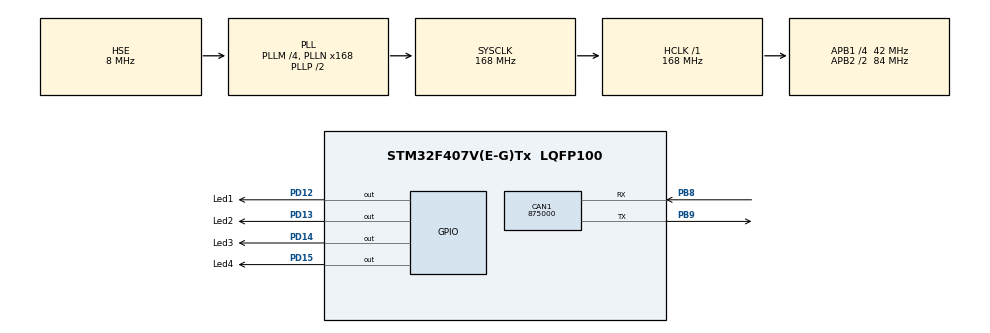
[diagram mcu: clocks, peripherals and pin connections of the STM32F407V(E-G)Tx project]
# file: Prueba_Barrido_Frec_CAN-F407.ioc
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CAN1.CalculateBaudRate=875000
CAN1.CalculateTimeBit=1142
CAN1.CalculateTimeQuantum=380.95238095238096
Mcu.Family=STM32F4
Mcu.Name=STM32F407V(E-G)Tx
Mcu.Package=LQFP100
NVIC.CAN1_RX0_IRQn=true\:0\:0\:false\:false\:true\:true\:true\:true
NVIC.CAN1_RX1_IRQn=true\:0\:0\:false\:false\:true\:true\:true\:true
NVIC.CAN1_SCE_IRQn=true\:0\:0\:false\:false\:true\:true\:true\:true
NVIC.CAN1_TX_IRQn=true\:0\:0\:false\:false\:true\:true\:true\:true
NVIC.PriorityGroup=NVIC_PRIORITYGROUP_0
NVIC.TIM2_IRQn=true\:0\:0\:false\:false\:true\:true\:true\:true
PA13.Mode=Serial_Wire
PA13.Signal=SYS_JTMS-SWDIO
PA14.Mode=Serial_Wire
PA14.Signal=SYS_JTCK-SWCLK
PB8.Mode=CAN_Activate
PB8.Signal=CAN1_RX
PB9.Mode=CAN_Activate
PB9.Signal=CAN1_TX
PD12.GPIO_Label=Led1
PD12.Signal=GPIO_Output
PD13.GPIO_Label=Led2
PD13.Signal=GPIO_Output
PD14.GPIO_Label=Led3
PD14.Signal=GPIO_Output
PD15.GPIO_Label=Led4
PD15.Signal=GPIO_Output
PH0-OSC_IN.Mode=HSE-External-Oscillator
PH0-OSC_IN.Signal=RCC_OSC_IN
PH1-OSC_OUT.Mode=HSE-External-Oscillator
PH1-OSC_OUT.Signal=RCC_OSC_OUT
ProjectManager.HeapSize=0x200
ProjectManager.StackSize=0x400
ProjectManager.TargetToolchain=STM32CubeIDE
RCC.48MHZClocksFreq_Value=48000000
RCC.AHBFreq_Value=168000000
RCC.APB1CLKDivider=RCC_HCLK_DIV4
RCC.APB1Freq_Value=42000000
RCC.APB1TimFreq_Value=84000000
RCC.APB2CLKDivider=RCC_HCLK_DIV2
RCC.APB2Freq_Value=84000000
RCC.APB2TimFreq_Value=168000000
RCC.CortexFreq_Value=168000000
RCC.HCLKFreq_Value=168000000
RCC.HSE_VALUE=8000000
RCC.HSI_VALUE=16000000
RCC.LSE_VALUE=32768
RCC.PLLM=4
RCC.PLLN=168
RCC.PLLQ=7
RCC.PLLSourceVirtual=RCC_PLLSOURCE_HSE
RCC.SYSCLKFreq_VALUE=168000000
RCC.SYSCLKSource=RCC_SYSCLKSOURCE_PLLCLK
RCC.VCOOutputFreq_Value=336000000
VP_TIM2_VS_ClockSourceINT.Mode=Internal
board=STM32F407G-DISC1

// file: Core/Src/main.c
/* USER CODE BEGIN Header */
/**
  ******************************************************************************
  * @file           : main.c
  * @brief          : Main program body
  ******************************************************************************
  * @attention
  *
  * Copyright (c) 2026 STMicroelectronics.
  * All rights reserved.
  *
  * This software is licensed under terms that can be found in the LICENSE file
  * in the root directory of this software component.
  * If no LICENSE file comes with this software, it is provided AS-IS.
  *
  ******************************************************************************
  */
/* USER CODE END Header */
#include "main.h"

CAN_HandleTypeDef hcan1;

TIM_HandleTypeDef htim2;

void SystemClock_Config(void);
static void MX_GPIO_Init(void);
static void MX_CAN1_Init(void);
static void MX_TIM2_Init(void);

/* USER CODE BEGIN 0 */
typedef struct {
    uint32_t Prescaler;
    uint32_t TimeSeg1;
    uint32_t TimeSeg2;
    uint32_t BaudRateValue; // Valor numérico en bps
    char* Name;
} CAN_BaudRateConfig;

// Tabla configurada para APB1 = 42 MHz
CAN_BaudRateConfig baudConfigs[] = {
    {3,  CAN_BS1_11TQ, CAN_BS2_2TQ, 1000000, "1 Mbps"},
    {6,  CAN_BS1_11TQ, CAN_BS2_2TQ, 500000,  "500 Kbps"},
    {12, CAN_BS1_11TQ, CAN_BS2_2TQ, 250000,  "250 Kbps"},
    {24, CAN_BS1_11TQ, CAN_BS2_2TQ, 125000,  "125 Kbps"},
    {30, CAN_BS1_11TQ, CAN_BS2_2TQ, 100000,  "100 Kbps"},
    {60, CAN_BS1_11TQ, CAN_BS2_2TQ, 50000,   "50 Kbps"}
};

#define NUM_BAUDRATES (sizeof(baudConfigs) / sizeof(CAN_BaudRateConfig))

volatile uint8_t current_baud_idx = 0;
volatile uint8_t baud_found = 0;
volatile uint32_t detected_baudrate = 0; // <--- AQUÍ SE GUARDARÁ EL VALOR
volatile uint8_t start_normal_operation = 0; // Nueva bandera

void CAN_Filter_Config(void)
{
    CAN_FilterTypeDef sFilterConfig;
    sFilterConfig.FilterBank = 0;
    sFilterConfig.FilterMode = CAN_FILTERMODE_IDMASK;
    sFilterConfig.FilterScale = CAN_FILTERSCALE_32BIT;
    sFilterConfig.FilterIdHigh = 0x0000;
    sFilterConfig.FilterIdLow = 0x0000;
    sFilterConfig.FilterMaskIdHigh = 0x0000;
    sFilterConfig.FilterMaskIdLow = 0x0000;
    sFilterConfig.FilterFIFOAssignment = CAN_RX_FIFO0;
    sFilterConfig.FilterActivation = ENABLE;
    sFilterConfig.SlaveStartFilterBank = 14;

    HAL_CAN_ConfigFilter(&hcan1, &sFilterConfig);
}
void CAN_Set_BaudRate_Silent(uint8_t index)
{
    HAL_CAN_Stop(&hcan1);

    hcan1.Init.Prescaler = baudConfigs[index].Prescaler;
    hcan1.Init.TimeSeg1 = baudConfigs[index].TimeSeg1;
    hcan1.Init.TimeSeg2 = baudConfigs[index].TimeSeg2;
    hcan1.Init.Mode = CAN_MODE_SILENT;

    if (HAL_CAN_Init(&hcan1) != HAL_OK) {
        Error_Handler();
    }

    CAN_Filter_Config(); // Re-aplicar filtro
    HAL_CAN_Start(&hcan1);
    HAL_CAN_ActivateNotification(&hcan1, CAN_IT_RX_FIFO0_MSG_PENDING);
}

void HAL_TIM_PeriodElapsedCallback(TIM_HandleTypeDef *htim)
{
    if (htim->Instance == TIM2)
    {
        if (baud_found==0)
        {
            current_baud_idx++;
            if (current_baud_idx >= NUM_BAUDRATES) current_baud_idx = 0;

            CAN_Set_BaudRate_Silent(current_baud_idx);
        }
    }
}
void Process_CAN_Data(CAN_RxHeaderTypeDef *header, uint8_t *data)
{

}
void HAL_CAN_RxFifo0MsgPendingCallback(CAN_HandleTypeDef *hcan)
{
    CAN_RxHeaderTypeDef RxHeader;
    uint8_t RxData[8];

    if (HAL_CAN_GetRxMessage(hcan, CAN_RX_FIFO0, &RxHeader, RxData) == HAL_OK)
    {
        if (baud_found==0)
        {
            // --- FASE DE DETECCIÓN ---
            baud_found = 1;
            detected_baudrate = baudConfigs[current_baud_idx].BaudRateValue;
            HAL_TIM_Base_Stop_IT(&htim2);
            start_normal_operation = 1;
        }
        else
        {
            Process_CAN_Data(&RxHeader, RxData);
        }
    }
}
void CAN_Switch_To_Normal_Mode(uint8_t index)
{
    HAL_CAN_Stop(&hcan1);

    hcan1.Init.Prescaler = baudConfigs[index].Prescaler;
    hcan1.Init.TimeSeg1 = baudConfigs[index].TimeSeg1;
    hcan1.Init.TimeSeg2 = baudConfigs[index].TimeSeg2;
    hcan1.Init.Mode = CAN_MODE_NORMAL; // <-- CAMBIO A NORMAL

    if (HAL_CAN_Init(&hcan1) != HAL_OK) {
        Error_Handler();
    }

    CAN_Filter_Config(); // Re-configurar filtros
    HAL_CAN_Start(&hcan1);

    // Habilitar interrupción de recepción para lectura constante
    HAL_CAN_ActivateNotification(&hcan1, CAN_IT_RX_FIFO0_MSG_PENDING);
}
/* USER CODE END 0 */

int main(void)
{

  /* MCU Configuration--------------------------------------------------------*/

  /* Reset of all peripherals, Initializes the Flash interface and the Systick. */
  HAL_Init();

  /* Configure the system clock */
  SystemClock_Config();

  /* Initialize all configured peripherals */
  MX_GPIO_Init();
  MX_CAN1_Init();
  MX_TIM2_Init();
  /* USER CODE BEGIN 2 */
  CAN_Set_BaudRate_Silent(current_baud_idx);
  HAL_TIM_Base_Start_IT(&htim2);
  /* USER CODE END 2 */

  /* Infinite loop */
  /* USER CODE BEGIN WHILE */
  while (1)
  {
	  if (baud_found && start_normal_operation)
	  {
		  start_normal_operation = 0;

		  CAN_Switch_To_Normal_Mode(current_baud_idx);
		  switch (detected_baudrate)
		  {
			case 500000:
				HAL_GPIO_WritePin(GPIOD, Led1_Pin, GPIO_PIN_SET); // LED Verde
				break;
			case 250000:
				HAL_GPIO_WritePin(GPIOD, Led2_Pin, GPIO_PIN_SET); // LED Naranja
				break;
			default:
				break;
		}
	  }
	  if (baud_found==0)
	  {
		  HAL_GPIO_TogglePin(GPIOD, Led3_Pin);
		  HAL_Delay(500);
	  }
    /* USER CODE END WHILE */

  }
}

void SystemClock_Config(void)
{
  RCC_OscInitTypeDef RCC_OscInitStruct = {0};
  RCC_ClkInitTypeDef RCC_ClkInitStruct = {0};

  /** Configure the main internal regulator output voltage
  */
  __HAL_RCC_PWR_CLK_ENABLE();
  __HAL_PWR_VOLTAGESCALING_CONFIG(PWR_REGULATOR_VOLTAGE_SCALE1);

  /** Initializes the RCC Oscillators according to the specified parameters
  * in the RCC_OscInitTypeDef structure.
  */
  RCC_OscInitStruct.OscillatorType = RCC_OSCILLATORTYPE_HSE;
  RCC_OscInitStruct.HSEState = RCC_HSE_ON;
  RCC_OscInitStruct.PLL.PLLState = RCC_PLL_ON;
  RCC_OscInitStruct.PLL.PLLSource = RCC_PLLSOURCE_HSE;
  RCC_OscInitStruct.PLL.PLLM = 4;
  RCC_OscInitStruct.PLL.PLLN = 168;
  RCC_OscInitStruct.PLL.PLLP = RCC_PLLP_DIV2;
  RCC_OscInitStruct.PLL.PLLQ = 7;
  if (HAL_RCC_OscConfig(&RCC_OscInitStruct) != HAL_OK)
  {
    Error_Handler();
  }

  /** Initializes the CPU, AHB and APB buses clocks
  */
  RCC_ClkInitStruct.ClockType = RCC_CLOCKTYPE_HCLK|RCC_CLOCKTYPE_SYSCLK
                              |RCC_CLOCKTYPE_PCLK1|RCC_CLOCKTYPE_PCLK2;
  RCC_ClkInitStruct.SYSCLKSource = RCC_SYSCLKSOURCE_PLLCLK;
  RCC_ClkInitStruct.AHBCLKDivider = RCC_SYSCLK_DIV1;
  RCC_ClkInitStruct.APB1CLKDivider = RCC_HCLK_DIV4;
  RCC_ClkInitStruct.APB2CLKDivider = RCC_HCLK_DIV2;

  if (HAL_RCC_ClockConfig(&RCC_ClkInitStruct, FLASH_LATENCY_5) != HAL_OK)
  {
    Error_Handler();
  }
}

static void MX_CAN1_Init(void)
{

  hcan1.Instance = CAN1;
  hcan1.Init.Prescaler = 16;
  hcan1.Init.Mode = CAN_MODE_NORMAL;
  hcan1.Init.SyncJumpWidth = CAN_SJW_1TQ;
  hcan1.Init.TimeSeg1 = CAN_BS1_1TQ;
  hcan1.Init.TimeSeg2 = CAN_BS2_1TQ;
  hcan1.Init.TimeTriggeredMode = DISABLE;
  hcan1.Init.AutoBusOff = DISABLE;
  hcan1.Init.AutoWakeUp = DISABLE;
  hcan1.Init.AutoRetransmission = DISABLE;
  hcan1.Init.ReceiveFifoLocked = DISABLE;
  hcan1.Init.TransmitFifoPriority = DISABLE;
  if (HAL_CAN_Init(&hcan1) != HAL_OK)
  {
    Error_Handler();
  }

}

static void MX_TIM2_Init(void)
{

  TIM_ClockConfigTypeDef sClockSourceConfig = {0};
  TIM_MasterConfigTypeDef sMasterConfig = {0};

  htim2.Instance = TIM2;
  htim2.Init.Prescaler = 8400-1;
  htim2.Init.CounterMode = TIM_COUNTERMODE_UP;
  htim2.Init.Period = 20000 - 1;
  htim2.Init.ClockDivision = TIM_CLOCKDIVISION_DIV1;
  htim2.Init.AutoReloadPreload = TIM_AUTORELOAD_PRELOAD_DISABLE;
  if (HAL_TIM_Base_Init(&htim2) != HAL_OK)
  {
    Error_Handler();
  }
  sClockSourceConfig.ClockSource = TIM_CLOCKSOURCE_INTERNAL;
  if (HAL_TIM_ConfigClockSource(&htim2, &sClockSourceConfig) != HAL_OK)
  {
    Error_Handler();
  }
  sMasterConfig.MasterOutputTrigger = TIM_TRGO_RESET;
  sMasterConfig.MasterSlaveMode = TIM_MASTERSLAVEMODE_DISABLE;
  if (HAL_TIMEx_MasterConfigSynchronization(&htim2, &sMasterConfig) != HAL_OK)
  {
    Error_Handler();
  }

}

static void MX_GPIO_Init(void)
{
  GPIO_InitTypeDef GPIO_InitStruct = {0};

  /* GPIO Ports Clock Enable */
  __HAL_RCC_GPIOH_CLK_ENABLE();
  __HAL_RCC_GPIOD_CLK_ENABLE();
  __HAL_RCC_GPIOA_CLK_ENABLE();
  __HAL_RCC_GPIOB_CLK_ENABLE();

  /*Configure GPIO pin Output Level */
  HAL_GPIO_WritePin(GPIOD, Led1_Pin|Led2_Pin|Led3_Pin|Led4_Pin, GPIO_PIN_RESET);

  /*Configure GPIO pins : Led1_Pin Led2_Pin Led3_Pin Led4_Pin */
  GPIO_InitStruct.Pin = Led1_Pin|Led2_Pin|Led3_Pin|Led4_Pin;
  GPIO_InitStruct.Mode = GPIO_MODE_OUTPUT_PP;
  GPIO_InitStruct.Pull = GPIO_NOPULL;
  GPIO_InitStruct.Speed = GPIO_SPEED_FREQ_LOW;
  HAL_GPIO_Init(GPIOD, &GPIO_InitStruct);

}

void Error_Handler(void)
{
  __disable_irq();
  while (1)
  {
  }
}
